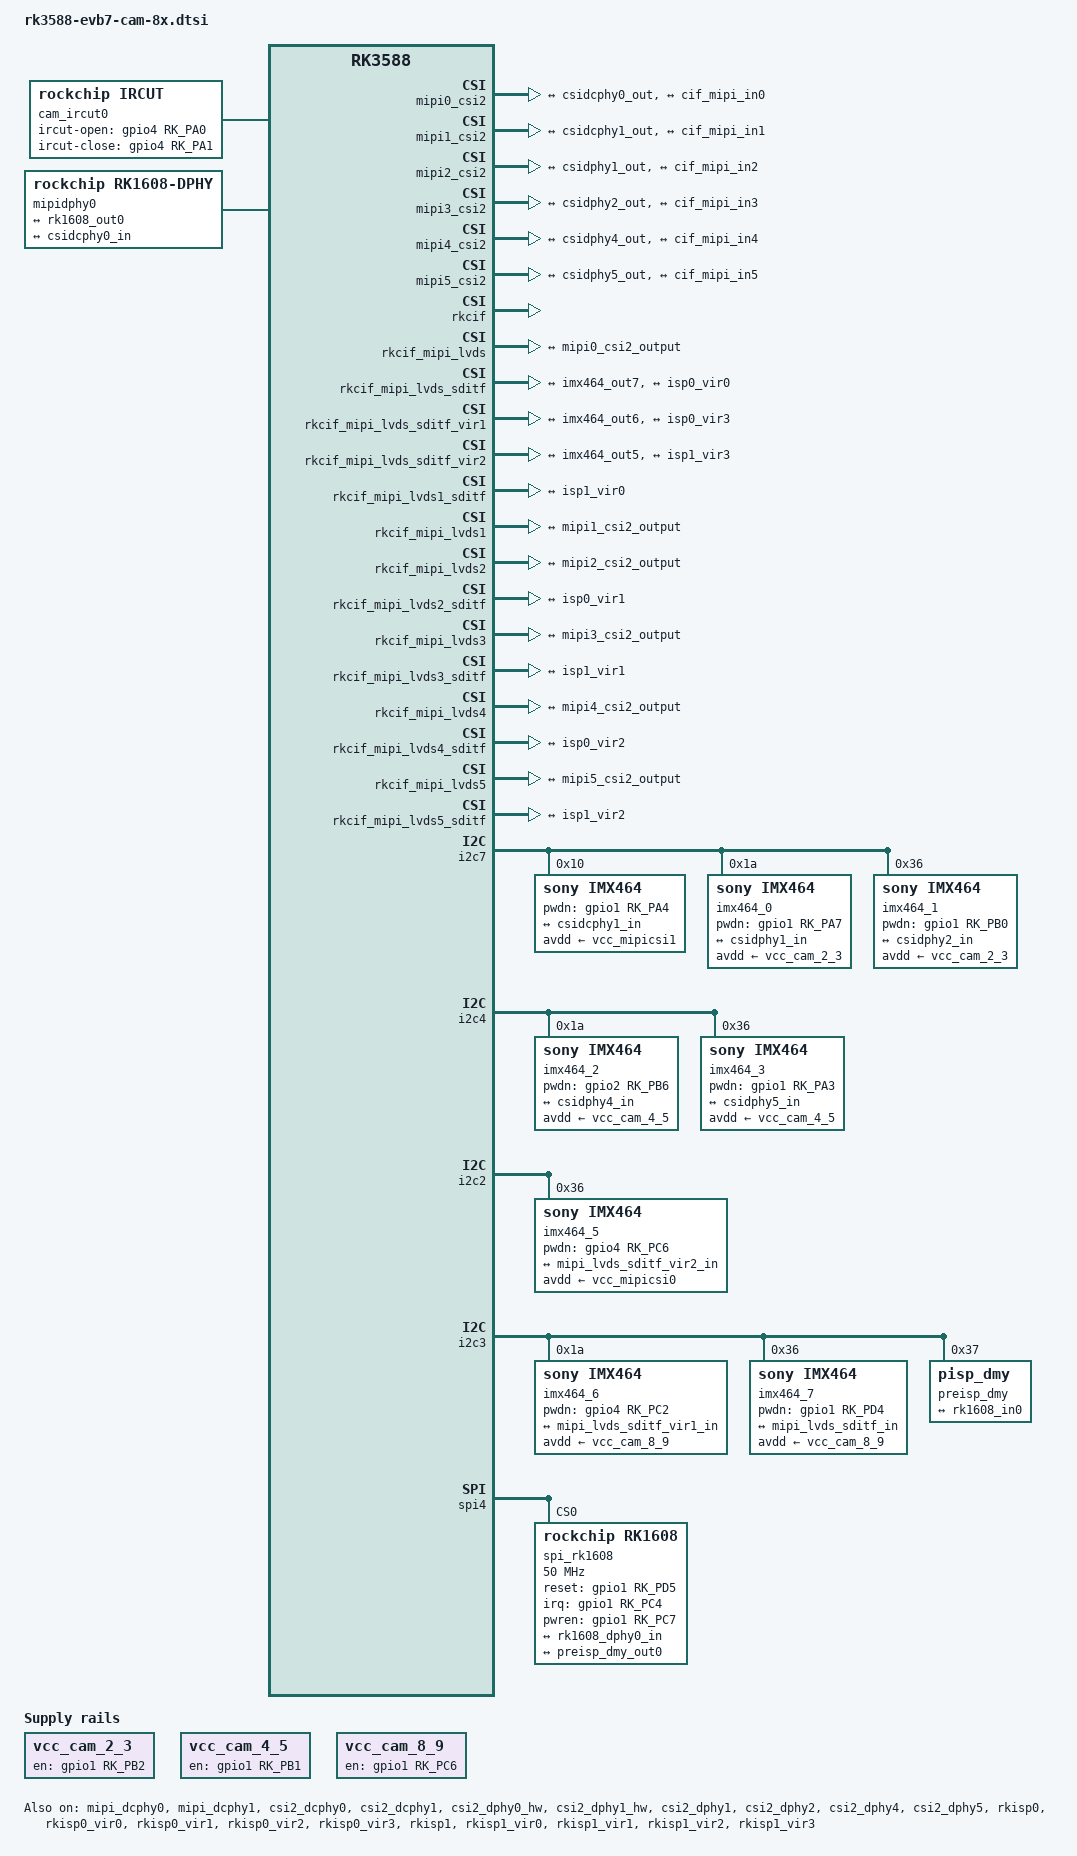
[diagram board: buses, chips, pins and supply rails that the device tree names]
// SPDX-License-Identifier: (GPL-2.0+ OR MIT)
/*
 * Copyright (c) 2022 Rockchip Electronics Co., Ltd.
 *
 */

#include <dt-bindings/display/media-bus-format.h>
#define LINK_FREQ               700000000


&mipi_dcphy0 {
	status = "okay";
};

&mipi_dcphy1 {
	status = "okay";
};

&csi2_dcphy0 {
	status = "okay";

	ports {
		#address-cells = <1>;
		#size-cells = <0>;
		port@0 {
			reg = <0>;
			#address-cells = <1>;
			#size-cells = <0>;

			csidcphy0_in: endpoint@1 {
				reg = <1>;
				remote-endpoint = <&rk1608_dphy0_out>;
				data-lanes = <1 2>;
			};
		};
		port@1 {
			reg = <1>;
			#address-cells = <1>;
			#size-cells = <0>;

			csidcphy0_out: endpoint@0 {
				reg = <0>;
				remote-endpoint = <&mipi0_csi2_input>;
			};
		};
	};
};

&csi2_dcphy1 {
	status = "okay";

	ports {
		#address-cells = <1>;
		#size-cells = <0>;
		port@0 {
			reg = <0>;
			#address-cells = <1>;
			#size-cells = <0>;

			csidcphy1_in: endpoint@1 {
				reg = <1>;
				remote-endpoint = <&imx464_out>;
				data-lanes = <1 2>;
			};
		};
		port@1 {
			reg = <1>;
			#address-cells = <1>;
			#size-cells = <0>;

			csidcphy1_out: endpoint@0 {
				reg = <0>;
				remote-endpoint = <&mipi1_csi2_input>;
			};
		};
	};
};

&csi2_dphy0_hw {
	status = "okay";
};

&csi2_dphy1_hw {
	status = "okay";
};

&csi2_dphy1 {
	status = "okay";

	ports {
		#address-cells = <1>;
		#size-cells = <0>;
		port@0 {
			reg = <0>;
			#address-cells = <1>;
			#size-cells = <0>;

			csidphy1_in: endpoint@1 {
				reg = <1>;
				remote-endpoint = <&imx464_out0>;
				data-lanes = <1 2>;
			};
		};
		port@1 {
			reg = <1>;
			#address-cells = <1>;
			#size-cells = <0>;

			csidphy1_out: endpoint@0 {
				reg = <0>;
				remote-endpoint = <&mipi2_csi2_input>;
			};
		};
	};
};

&csi2_dphy2 {
	status = "okay";

	ports {
		#address-cells = <1>;
		#size-cells = <0>;
		port@0 {
			reg = <0>;
			#address-cells = <1>;
			#size-cells = <0>;

			csidphy2_in: endpoint@1 {
				reg = <1>;
				remote-endpoint = <&imx464_out1>;
				data-lanes = <1 2>;
			};
		};
		port@1 {
			reg = <1>;
			#address-cells = <1>;
			#size-cells = <0>;

			csidphy2_out: endpoint@0 {
				reg = <0>;
				remote-endpoint = <&mipi3_csi2_input>;
			};
		};
	};
};

&csi2_dphy4 {
	status = "okay";

	ports {
		#address-cells = <1>;
		#size-cells = <0>;
		port@0 {
			reg = <0>;
			#address-cells = <1>;
			#size-cells = <0>;

			csidphy4_in: endpoint@1 {
				reg = <1>;
				remote-endpoint = <&imx464_out2>;
				data-lanes = <1 2>;
			};
		};
		port@1 {
			reg = <1>;
			#address-cells = <1>;
			#size-cells = <0>;

			csidphy4_out: endpoint@0 {
				reg = <0>;
				remote-endpoint = <&mipi4_csi2_input>;
			};
		};
	};
};

&csi2_dphy5 {
	status = "okay";

	ports {
		#address-cells = <1>;
		#size-cells = <0>;
		port@0 {
			reg = <0>;
			#address-cells = <1>;
			#size-cells = <0>;

			csidphy5_in: endpoint@1 {
				reg = <1>;
				remote-endpoint = <&imx464_out3>;
				data-lanes = <1 2>;
			};
		};
		port@1 {
			reg = <1>;
			#address-cells = <1>;
			#size-cells = <0>;

			csidphy5_out: endpoint@0 {
				reg = <0>;
				remote-endpoint = <&mipi5_csi2_input>;
			};
		};
	};
};

&mipi0_csi2 {
	status = "okay";

	ports {
		#address-cells = <1>;
		#size-cells = <0>;

		port@0 {
			reg = <0>;
			#address-cells = <1>;
			#size-cells = <0>;

			mipi0_csi2_input: endpoint@1 {
				reg = <1>;
				remote-endpoint = <&csidcphy0_out>;
			};
		};

		port@1 {
			reg = <1>;
			#address-cells = <1>;
			#size-cells = <0>;

			mipi0_csi2_output: endpoint@0 {
				reg = <0>;
				remote-endpoint = <&cif_mipi_in0>;
			};
		};
	};
};

&mipi1_csi2 {
	status = "okay";

	ports {
		#address-cells = <1>;
		#size-cells = <0>;

		port@0 {
			reg = <0>;
			#address-cells = <1>;
			#size-cells = <0>;

			mipi1_csi2_input: endpoint@1 {
				reg = <1>;
				remote-endpoint = <&csidcphy1_out>;
			};
		};

		port@1 {
			reg = <1>;
			#address-cells = <1>;
			#size-cells = <0>;

			mipi1_csi2_output: endpoint@0 {
				reg = <0>;
				remote-endpoint = <&cif_mipi_in1>;
			};
		};
	};
};

&mipi2_csi2 {
	status = "okay";

	ports {
		#address-cells = <1>;
		#size-cells = <0>;

		port@0 {
			reg = <0>;
			#address-cells = <1>;
			#size-cells = <0>;

			mipi2_csi2_input: endpoint@1 {
				reg = <1>;
				remote-endpoint = <&csidphy1_out>;
			};
		};

		port@1 {
			reg = <1>;
			#address-cells = <1>;
			#size-cells = <0>;

			mipi2_csi2_output: endpoint@0 {
				reg = <0>;
				remote-endpoint = <&cif_mipi_in2>;
			};
		};
	};
};

&mipi3_csi2 {
	status = "okay";

	ports {
		#address-cells = <1>;
		#size-cells = <0>;

		port@0 {
			reg = <0>;
			#address-cells = <1>;
			#size-cells = <0>;

			mipi3_csi2_input: endpoint@1 {
				reg = <1>;
				remote-endpoint = <&csidphy2_out>;
			};
		};

		port@1 {
			reg = <1>;
			#address-cells = <1>;
			#size-cells = <0>;

			mipi3_csi2_output: endpoint@0 {
				reg = <0>;
				remote-endpoint = <&cif_mipi_in3>;
			};
		};
	};
};

&mipi4_csi2 {
	status = "okay";

	ports {
		#address-cells = <1>;
		#size-cells = <0>;

		port@0 {
			reg = <0>;
			#address-cells = <1>;
			#size-cells = <0>;

			mipi4_csi2_input: endpoint@1 {
				reg = <1>;
				remote-endpoint = <&csidphy4_out>;
			};
		};

		port@1 {
			reg = <1>;
			#address-cells = <1>;
			#size-cells = <0>;

			mipi4_csi2_output: endpoint@0 {
				reg = <0>;
				remote-endpoint = <&cif_mipi_in4>;
			};
		};
	};
};

&mipi5_csi2 {
	status = "okay";

	ports {
		#address-cells = <1>;
		#size-cells = <0>;

		port@0 {
			reg = <0>;
			#address-cells = <1>;
			#size-cells = <0>;

			mipi5_csi2_input: endpoint@1 {
				reg = <1>;
				remote-endpoint = <&csidphy5_out>;
			};
		};

		port@1 {
			reg = <1>;
			#address-cells = <1>;
			#size-cells = <0>;

			mipi5_csi2_output: endpoint@0 {
				reg = <0>;
				remote-endpoint = <&cif_mipi_in5>;
			};
		};
	};
};

&rkcif {
	status = "okay";
};

&rkcif_mipi_lvds {
	status = "okay";

	port {
		cif_mipi_in0: endpoint {
			remote-endpoint = <&mipi0_csi2_output>;
		};
	};
};

&rkcif_mipi_lvds_sditf {
	#address-cells = <1>;
	#size-cells = <0>;
	status = "okay";
	rockchip,combine-index = <0>;
	ports {
		#address-cells = <1>;
		#size-cells = <0>;
		port@0 {
			reg = <0>;
			#address-cells = <1>;
			#size-cells = <0>;
			mipi_lvds_sditf_in: endpoint@1 {
				reg = <1>;
				remote-endpoint = <&imx464_out7>;
				data-lanes = <1 2>;
			};
		};

		port@1 {
			reg = <1>;
			#address-cells = <1>;
			#size-cells = <0>;
			mipi_lvds_sditf: endpoint@0 {
				reg = <0>;
				remote-endpoint = <&isp0_vir0>;
			};
		};
	};
};

&rkcif_mipi_lvds_sditf_vir1 {
	#address-cells = <1>;
	#size-cells = <0>;
	status = "okay";
	rockchip,combine-index = <1>;
	ports {
		#address-cells = <1>;
		#size-cells = <0>;
		port@0 {
			reg = <0>;
			#address-cells = <1>;
			#size-cells = <0>;
			mipi_lvds_sditf_vir1_in: endpoint@1 {
				reg = <1>;
				remote-endpoint = <&imx464_out6>;
				data-lanes = <1 2>;
			};
		};

		port@1 {
			reg = <1>;
			#address-cells = <1>;
			#size-cells = <0>;
			mipi_lvds_sditf_vir1: endpoint@0 {
				reg = <0>;
				remote-endpoint = <&isp0_vir3>;
			};
		};
	};
};

&rkcif_mipi_lvds_sditf_vir2 {
	address-cells = <1>;
	#size-cells = <0>;
	status = "okay";
	rockchip,combine-index = <2>;
	ports {
		#address-cells = <1>;
		#size-cells = <0>;
		port@0 {
			reg = <0>;
			#address-cells = <1>;
			#size-cells = <0>;
			mipi_lvds_sditf_vir2_in: endpoint@1 {
				reg = <1>;
				remote-endpoint = <&imx464_out5>;
				data-lanes = <1 2>;
			};
		};

		port@1 {
			reg = <1>;
			#address-cells = <1>;
			#size-cells = <0>;
			mipi_lvds_sditf_vir2: endpoint {
				remote-endpoint = <&isp1_vir3>;
			};
		};
	};
};

&rkcif_mipi_lvds1_sditf {
	status = "okay";

	port {
		mipi1_lvds_sditf: endpoint {
			remote-endpoint = <&isp1_vir0>;
		};
	};
};

&rkcif_mipi_lvds1 {
	status = "okay";

	port {
		cif_mipi_in1: endpoint {
			remote-endpoint = <&mipi1_csi2_output>;
		};
	};
};

&rkcif_mipi_lvds2 {
	status = "okay";

	port {
		cif_mipi_in2: endpoint {
			remote-endpoint = <&mipi2_csi2_output>;
		};
	};
};

&rkcif_mipi_lvds2_sditf {
	status = "okay";

	port {
		mipi2_lvds_sditf: endpoint {
			remote-endpoint = <&isp0_vir1>;
		};
	};
};

&rkcif_mipi_lvds3 {
	status = "okay";

	port {
		cif_mipi_in3: endpoint {
			remote-endpoint = <&mipi3_csi2_output>;
		};
	};
};

&rkcif_mipi_lvds3_sditf {
	status = "okay";

	port {
		mipi3_lvds_sditf: endpoint {
			remote-endpoint = <&isp1_vir1>;
		};
	};
};

&rkcif_mipi_lvds4 {
	status = "okay";

	port {
		cif_mipi_in4: endpoint {
			remote-endpoint = <&mipi4_csi2_output>;
		};
	};
};

&rkcif_mipi_lvds4_sditf {
	status = "okay";

	port {
		mipi4_lvds_sditf: endpoint {
			remote-endpoint = <&isp0_vir2>;
		};
	};
};

&rkcif_mipi_lvds5 {
	status = "okay";

	port {
		cif_mipi_in5: endpoint {
			remote-endpoint = <&mipi5_csi2_output>;
		};
	};
};

&rkcif_mipi_lvds5_sditf {
	status = "okay";

	port {
		mipi5_lvds_sditf: endpoint {
			remote-endpoint = <&isp1_vir2>;
		};
	};
};

&rkcif_mmu {
	status = "okay";
};

&rkisp0 {
	status = "okay";
};

&isp0_mmu {
	status = "okay";
};

&rkisp0_vir0 {
	status = "okay";

	port {
		#address-cells = <1>;
		#size-cells = <0>;

		isp0_vir0: endpoint@0 {
			reg = <0>;
			remote-endpoint = <&mipi_lvds_sditf>;
		};
	};
};

&rkisp0_vir1 {
	status = "okay";

	port {
		#address-cells = <1>;
		#size-cells = <0>;

		isp0_vir1: endpoint@0 {
			reg = <0>;
			remote-endpoint = <&mipi2_lvds_sditf>;
		};
	};
};

&rkisp0_vir2 {
	status = "okay";

	port {
		#address-cells = <1>;
		#size-cells = <0>;

		isp0_vir2: endpoint@0 {
			reg = <0>;
			remote-endpoint = <&mipi4_lvds_sditf>;
		};
	};
};

&rkisp0_vir3 {
	status = "okay";

	port {
		#address-cells = <1>;
		#size-cells = <0>;

		isp0_vir3: endpoint@0 {
			reg = <0>;
			remote-endpoint = <&mipi_lvds_sditf_vir1>;
		};
	};
};

&rkisp1 {
	status = "okay";
};

&isp1_mmu {
	status = "okay";
};

&rkisp1_vir0 {
	status = "okay";

	port {
		#address-cells = <1>;
		#size-cells = <0>;

		isp1_vir0: endpoint@0 {
			reg = <0>;
			remote-endpoint = <&mipi1_lvds_sditf>;
		};
	};
};

&rkisp1_vir1 {
	status = "okay";

	port {
		#address-cells = <1>;
		#size-cells = <0>;

		isp1_vir1: endpoint@0 {
			reg = <0>;
			remote-endpoint = <&mipi3_lvds_sditf>;
		};
	};
};

&rkisp1_vir2 {
	status = "okay";

	port {
		#address-cells = <1>;
		#size-cells = <0>;

		isp1_vir2: endpoint@0 {
			reg = <0>;
			remote-endpoint = <&mipi5_lvds_sditf>;
		};
	};
};

&rkisp1_vir3 {
	status = "okay";

	port {
		#address-cells = <1>;
		#size-cells = <0>;

		isp1_vir3: endpoint@0 {
			reg = <0>;
			remote-endpoint = <&mipi_lvds_sditf_vir2>;
		};
	};
};

&pinctrl {
	cam {
		vcc_cam_2_3_pwr: vcc_cam_2_3_pwr {
			rockchip,pins =
				/* camera power en */
				<1 RK_PB2 RK_FUNC_GPIO &pcfg_pull_none>;
		};
		vcc_cam_4_5_pwr: vcc_cam_4_5_pwr {
			rockchip,pins =
				/* camera power en */
				<1 RK_PB1 RK_FUNC_GPIO &pcfg_pull_none>;
		};
		vcc_cam_8_9_pwr: vcc_cam_8_9_pwr {
			rockchip,pins =
				/* camera power en */
				<1 RK_PC6 RK_FUNC_GPIO &pcfg_pull_none>;
		};
	};
};


/ {
	cam_ircut0: cam_ircut {
		status = "okay";
		compatible = "rockchip,ircut";
		ircut-open-gpios = <&gpio4 RK_PA0 GPIO_ACTIVE_HIGH>;
		ircut-close-gpios  = <&gpio4 RK_PA1 GPIO_ACTIVE_HIGH>;
		rockchip,camera-module-index = <0>;
		rockchip,camera-module-facing = "back";
	};

	vcc_cam_2_3: vcc-cam-2-3 {
		compatible = "regulator-fixed";
		gpio = <&gpio1 RK_PB2 GPIO_ACTIVE_HIGH>;
		pinctrl-names = "default";
		pinctrl-0 = <&vcc_cam_2_3_pwr>;
		regulator-name = "vcc_cam_2_3";
		enable-active-high;
	};

	vcc_cam_4_5: vcc-cam-4-5 {
		compatible = "regulator-fixed";
		gpio = <&gpio1 RK_PB1 GPIO_ACTIVE_HIGH>;
		pinctrl-names = "default";
		pinctrl-0 = <&vcc_cam_4_5_pwr>;
		regulator-name = "vcc_cam_4_5";
		enable-active-high;
	};

	vcc_cam_8_9: vcc-cam-8-9 {
		compatible = "regulator-fixed";
		gpio = <&gpio1 RK_PC6 GPIO_ACTIVE_HIGH>;
		pinctrl-names = "default";
		pinctrl-0 = <&vcc_cam_8_9_pwr>;
		regulator-name = "vcc_cam_8_9";
		enable-active-high;
	};
};

&i2c7 {
	status = "okay";
	pinctrl-0 = <&i2c7m0_xfer>;

	/* hardware cam 1 */
	imx464: imx464@10 {
		compatible = "sony,imx464";
		reg = <0x10>;
		clocks = <&cru CLK_MIPI_CAMARAOUT_M2>;
		clock-names = "xvclk";
		pinctrl-names = "default";
		pinctrl-0 = <&mipim0_camera2_clk>;
		power-domains = <&power RK3588_PD_VI>;
		pwdn-gpios = <&gpio1 RK_PA4 GPIO_ACTIVE_HIGH>;
		avdd-supply = <&vcc_mipicsi1>;
		rockchip,camera-module-index = <0>;
		rockchip,camera-module-facing = "back";
		rockchip,camera-module-name = "CMK-OT1980-PX1";
		rockchip,camera-module-lens-name = "SHG102";
		port {
			imx464_out: endpoint {
				remote-endpoint = <&csidcphy1_in>;
				data-lanes = <1 2>;
			};
		};
	};

	/* hardware cam 2 */
	imx464_0: imx464-0@1a {
		compatible = "sony,imx464";
		status = "okay";
		reg = <0x1a>;
		clocks = <&cru CLK_MIPI_CAMARAOUT_M3>;
		clock-names = "xvclk";
		power-domains = <&power RK3588_PD_VI>;
		pwdn-gpios = <&gpio1 RK_PA7 GPIO_ACTIVE_HIGH>;
		pinctrl-names = "default";
		pinctrl-0 = <&mipim0_camera3_clk>;
		avdd-supply = <&vcc_cam_2_3>;
		rockchip,camera-module-index = <1>;
		rockchip,camera-module-facing = "back";
		rockchip,camera-module-name = "CMK-OT1980-PX1";
		rockchip,camera-module-lens-name = "SHG102";
		port {
			imx464_out0: endpoint {
				remote-endpoint = <&csidphy1_in>;
				data-lanes = <1 2>;
			};
		};
	};

	/* hardware cam 3 */
	imx464_1: imx464-1@36 {
		compatible = "sony,imx464";
		status = "okay";
		reg = <0x36>;
		clocks = <&cru CLK_MIPI_CAMARAOUT_M3>;
		clock-names = "xvclk";
		power-domains = <&power RK3588_PD_VI>;
		//pinctrl-names = "default";
		//pinctrl-0 = <&mipim0_camera3_clk>; //same
		pwdn-gpios = <&gpio1 RK_PB0 GPIO_ACTIVE_HIGH>;
		avdd-supply = <&vcc_cam_2_3>;
		rockchip,camera-module-index = <2>;
		rockchip,camera-module-facing = "back";
		rockchip,camera-module-name = "CMK-OT1980-PX1";
		rockchip,camera-module-lens-name = "SHG102";
		port {
			imx464_out1: endpoint {
				remote-endpoint = <&csidphy2_in>;
				data-lanes = <1 2>;
			};
		};
	};
};

&i2c4 {
	status = "okay";
	pinctrl-0 = <&i2c4m1_xfer>;

	/* hardware cam 4 */
	imx464_2: imx464-2@1a {
		compatible = "sony,imx464";
		status = "okay";
		reg = <0x1a>;
		clocks = <&cru CLK_MIPI_CAMARAOUT_M4>;
		clock-names = "xvclk";
		power-domains = <&power RK3588_PD_VI>;
		pinctrl-names = "default";
		pinctrl-0 = <&mipim0_camera4_clk>;
		avdd-supply = <&vcc_cam_4_5>;
		pwdn-gpios = <&gpio2 RK_PB6 GPIO_ACTIVE_HIGH>;
		rockchip,camera-module-index = <3>;
		rockchip,camera-module-facing = "back";
		rockchip,camera-module-name = "CMK-OT1980-PX1";
		rockchip,camera-module-lens-name = "SHG102";
		port {
			imx464_out2: endpoint {
				remote-endpoint = <&csidphy4_in>;
				data-lanes = <1 2>;
			};
		};
	};

	/* hardware cam 5 */
	imx464_3: imx464-3@36 {
		compatible = "sony,imx464";
		status = "okay";
		reg = <0x36>;
		clocks = <&cru CLK_MIPI_CAMARAOUT_M4>;
		clock-names = "xvclk";
		power-domains = <&power RK3588_PD_VI>;
		//pinctrl-names = "default";
		//pinctrl-0 = <&mipim0_camera4_clk>;
		avdd-supply = <&vcc_cam_4_5>;
		pwdn-gpios = <&gpio1 RK_PA3 GPIO_ACTIVE_HIGH>;
		rockchip,camera-module-index = <4>;
		rockchip,camera-module-facing = "back";
		rockchip,camera-module-name = "CMK-OT1980-PX1";
		rockchip,camera-module-lens-name = "SHG102";
		port {
			imx464_out3: endpoint {
				remote-endpoint = <&csidphy5_in>;
				data-lanes = <1 2>;
			};
		};
	};
};

&i2c2 {
	status = "okay";
	pinctrl-0 = <&i2c2m4_xfer>;

	/* hardware cam 6 */
	imx464_4: imx464-4@1a {
		compatible = "sony,imx464";
		status = "disabled";
		reg = <0x1a>;
		clocks = <&cru CLK_MIPI_CAMARAOUT_M1>;
		clock-names = "xvclk";
		power-domains = <&power RK3588_PD_VI>;
		//pinctrl-names = "default";
		//pinctrl-0 = <&mipim0_camera1_clk>;
		avdd-supply = <&vcc_mipicsi0>;
		pwdn-gpios = <&gpio1 RK_PA2 GPIO_ACTIVE_HIGH>;
		rockchip,camera-module-index = <8>;
		rockchip,camera-module-facing = "back";
		rockchip,camera-module-name = "CMK-OT1980-PX1";
		rockchip,camera-module-lens-name = "SHG102";
		port {
			imx464_out4: endpoint {
				//remote-endpoint = <&mipi_lvds_sditf_vir3>;
				data-lanes = <1 2>;
			};
		};
	};

	/* hardware cam 7 */
	imx464_5: imx464-5@36 {
		compatible = "sony,imx464";
		status = "okay";
		reg = <0x36>;
		clocks = <&cru CLK_MIPI_CAMARAOUT_M1>;
		clock-names = "xvclk";
		power-domains = <&power RK3588_PD_VI>;
		pinctrl-names = "default";
		pinctrl-0 = <&mipim0_camera1_clk>;
		avdd-supply = <&vcc_mipicsi0>;
		pwdn-gpios = <&gpio4 RK_PC6 GPIO_ACTIVE_HIGH>;
		rockchip,camera-module-index = <7>;
		rockchip,camera-module-facing = "back";
		rockchip,camera-module-name = "CMK-OT1980-PX1";
		rockchip,camera-module-lens-name = "SHG102";
		port {
			imx464_out5: endpoint {
				remote-endpoint = <&mipi_lvds_sditf_vir2_in>;
				data-lanes = <1 2>;
			};
		};
	};
};

&i2c3 {
	status = "okay";
	pinctrl-0 = <&i2c3m0_xfer>;

	/* hardware cam 8 */
	imx464_6: imx464-6@1a {
		compatible = "sony,imx464";
		status = "okay";
		reg = <0x1a>;
		clocks = <&cru CLK_MIPI_CAMARAOUT_M1>;
		clock-names = "xvclk";
		power-domains = <&power RK3588_PD_VI>;
		//pinctrl-names = "default";
		//pinctrl-0 = <&mipim0_camera1_clk>;
		avdd-supply = <&vcc_cam_8_9>;
		pwdn-gpios = <&gpio4 RK_PC2 GPIO_ACTIVE_HIGH>;
		rockchip,camera-module-index = <6>;
		rockchip,camera-module-facing = "back";
		rockchip,camera-module-name = "CMK-OT1980-PX1";
		rockchip,camera-module-lens-name = "SHG102";
		port {
			imx464_out6: endpoint {
				remote-endpoint = <&mipi_lvds_sditf_vir1_in>;
				data-lanes = <1 2>;
			};
		};
	};

	/* hardware cam 9 */
	imx464_7: imx464-7@36 {
		compatible = "sony,imx464";
		status = "okay";
		reg = <0x36>;
		clocks = <&cru CLK_MIPI_CAMARAOUT_M1>;
		clock-names = "xvclk";
		power-domains = <&power RK3588_PD_VI>;
		//pinctrl-names = "default";
		//pinctrl-0 = <&mipim0_camera1_clk>;
		avdd-supply = <&vcc_cam_8_9>;
		pwdn-gpios = <&gpio1 RK_PD4 GPIO_ACTIVE_HIGH>;
		rockchip,camera-module-index = <5>;
		rockchip,camera-module-facing = "back";
		rockchip,camera-module-name = "CMK-OT1980-PX1";
		rockchip,camera-module-lens-name = "SHG102";
		port {
			imx464_out7: endpoint {
				remote-endpoint = <&mipi_lvds_sditf_in>;
				data-lanes = <1 2>;
			};
		};
	};

	preisp_dmy: preisp_dmy@37 {
		status = "okay";
		compatible = "pisp_dmy";
		reg = <0x37>;

		clocks = <&cru CLK_MIPI_CAMARAOUT_M1>;
		clock-names = "xvclk";

		rockchip,camera-module-index = <10>;
		rockchip,camera-module-facing = "back";
		rockchip,camera-module-name = "CMK-OT1980-PX1";
		rockchip,camera-module-lens-name = "SHG102";
		port {
			preisp_dmy_out0: endpoint {
				remote-endpoint = <&rk1608_in0>;
				data-lanes = <1 2 3 4>;
			};
		};
	};
};

&spi4 {
	status = "okay";
	//assigned-clocks = <&cru CLK_SPI0>;
	//assigned-clock-rates = <100000000>;
	//rx-sample-delay-ns = <10>;
	//dma-names = "tx", "rx";
	pinctrl-names = "default";
	pinctrl-0 = <&spi4m1_cs0 &spi4m1_cs1 &spi4m1_pins>;

	spi_rk1608@0 {
		compatible =  "rockchip,rk1608";
		status = "okay";
		reg = <0>;
		spi-max-frequency = <50000000>;
		spi-min-frequency = <16000000>;

		clocks = <&cru CLK_SPI4>;
		clock-names = "mclk";

		firmware-names = "rk1608.rkl";

		reset-gpios = <&gpio1 RK_PD5 GPIO_ACTIVE_HIGH>;
		irq-gpios = <&gpio1 RK_PC4 GPIO_ACTIVE_HIGH>;
		//wake-gpios = <&gpio1 RK_PA3 GPIO_ACTIVE_HIGH>;
		pwren-gpios = <&gpio1 RK_PC7 GPIO_ACTIVE_HIGH>;
		pinctrl-names = "default";
		pinctrl-0 = <&preisp_irq_gpios &preisp_pwren_gpios
			&preisp_reset_gpios &refclk_pins>;

		/* regulator config */
		vdd-core-regulator = "vdd_preisp";
		vdd-core-microvolt = <1150000>;
		ports {
			#address-cells = <1>;
			#size-cells = <0>;
			port@0 {
				#address-cells = <1>;
				#size-cells = <0>;

				reg = <0>;
				rk1608_out0: endpoint@0 {
					reg = <0>;
					remote-endpoint = <&rk1608_dphy0_in>;
				};
			};

			port@1 {
				#address-cells = <1>;
				#size-cells = <0>;

				reg = <1>;
				rk1608_in0: endpoint@0 {
					reg = <0>;
					remote-endpoint = <&preisp_dmy_out0>;
				};
			};
		};
	};
};

&pinctrl {
	rk1608_gpios {
		preisp_irq_gpios: preisp-irq-gpios {
			rockchip,pins =
				<1 RK_PC4 0 &pcfg_pull_up>;
		};
		preisp_reset_gpios: preisp-reset-gpios {
			rockchip,pins =
				<1 RK_PD5 0 &pcfg_output_low>;
		};
		preisp_pwren_gpios: preisp-pwren-gpios {
			rockchip,pins =
				<1 RK_PC7 0 &pcfg_pull_up>;
		};
	};
};

/{
	mipidphy0: mipidphy0 {
	compatible =  "rockchip,rk1608-dphy";
		status = "okay";
		//rockchip,grf = <&grf>;
		id = <0>;

		cam_nums = <1>;
		in_mipi = <1>;
		out_mipi = <0>;
		link-freqs = /bits/ 64 <LINK_FREQ>;

		sensor_i2c_bus = <5>;
		sensor_i2c_addr = <0x1a>;
		sensor-name = "IMX464";

		rockchip,camera-module-index = <9>;
		rockchip,camera-module-facing = "back";
		rockchip,camera-module-name = "TongJu";
		rockchip,camera-module-lens-name = "CHT842-MD";

		/* virtual-sensor mode */
		virtual-sub-sensor-config-0 {
			id = <1>;
			in_mipi = <2>;
			out_mipi = <1>;
		};
		virtual-sub-sensor-config-1 {
			id = <2>;
			in_mipi = <3>;
			out_mipi = <1>;
		};
		/* multi-sensor mode end */

		format-config-0 {
			data_type = <0x2b>;
			mipi_lane = <2>;
			mipi_lane_out = <4>;
			field = <1>;
			colorspace = <8>;
			code = <MEDIA_BUS_FMT_SRGGB10_1X10>;
			width = <2712>;
			height= <1538>;
			hactive = <2712>;
			vactive = <4614>;
			htotal = <3616>;
			vtotal = <4710>;
			inch0-info = <2712 1538 0x2b 0x2b 1>;
			outch0-info = <2712 4614 0x2b 0x2b 1>;
			hcrop = <2560>;
			vcrop = <1520>;
		};

		ports {
			#address-cells = <1>;
			#size-cells = <0>;

			port@0 {
				rk1608_dphy0_in: endpoint {
					remote-endpoint = <&rk1608_out0>;
					data-lanes = <1 2 3 4>;
				};
			};
			port@1 {
				rk1608_dphy0_out: endpoint {
					remote-endpoint = <&csidcphy0_in>;
					clock-lanes = <0>;
					data-lanes = <1 2 3 4>;
					clock-noncontinuous;
					link-freqs = /bits/ 64 <LINK_FREQ>;
				};
			};
		};
	};
};
